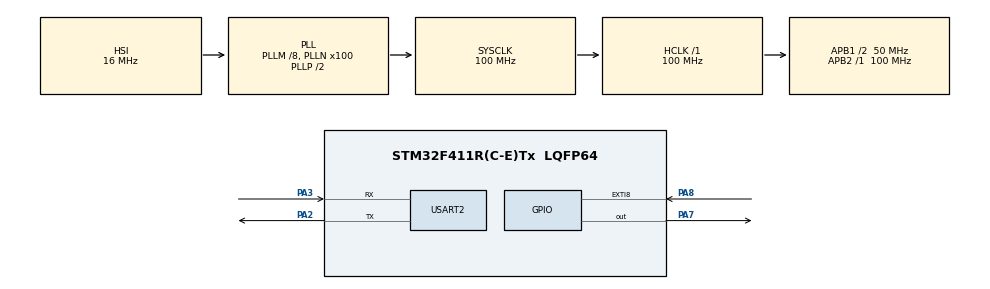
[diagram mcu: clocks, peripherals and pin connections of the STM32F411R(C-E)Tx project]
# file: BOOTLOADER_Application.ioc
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Mcu.Family=STM32F4
Mcu.Name=STM32F411R(C-E)Tx
Mcu.Package=LQFP64
NVIC.EXTI9_5_IRQn=true\:0\:0\:false\:false\:true\:true\:true\:true
NVIC.PriorityGroup=NVIC_PRIORITYGROUP_4
PA13.Mode=Serial_Wire
PA13.Signal=SYS_JTMS-SWDIO
PA14.Mode=Serial_Wire
PA14.Signal=SYS_JTCK-SWCLK
PA2.Mode=Asynchronous
PA2.Signal=USART2_TX
PA3.Mode=Asynchronous
PA3.Signal=USART2_RX
PA7.Signal=GPIO_Output
PA8.GPIO_ModeDefaultEXTI=GPIO_MODE_IT_RISING
PA8.GPIO_PuPd=GPIO_PULLUP
PA8.Signal=GPXTI8
PH0\ -\ OSC_IN.Mode=HSE-External-Clock-Source
PH0\ -\ OSC_IN.Signal=RCC_OSC_IN
PH1\ -\ OSC_OUT.Mode=HSE-External-Clock-Source
PH1\ -\ OSC_OUT.Signal=RCC_OSC_OUT
ProjectManager.HeapSize=0x200
ProjectManager.StackSize=0x400
ProjectManager.TargetToolchain=STM32CubeIDE
RCC.48MHZClocksFreq_Value=50000000
RCC.AHBFreq_Value=100000000
RCC.APB1CLKDivider=RCC_HCLK_DIV2
RCC.APB1Freq_Value=50000000
RCC.APB1TimFreq_Value=100000000
RCC.APB2Freq_Value=100000000
RCC.APB2TimFreq_Value=100000000
RCC.CortexFreq_Value=100000000
RCC.HCLKFreq_Value=100000000
RCC.HSE_VALUE=25000000
RCC.HSI_VALUE=16000000
RCC.LSE_VALUE=32768
RCC.PLLM=8
RCC.PLLN=100
RCC.SYSCLKFreq_VALUE=100000000
RCC.SYSCLKSource=RCC_SYSCLKSOURCE_PLLCLK
RCC.VCOOutputFreq_Value=200000000
USART2.VirtualMode=VM_ASYNC
board=custom

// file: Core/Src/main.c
/* USER CODE BEGIN Header */
/**
  ******************************************************************************
  * @file           : main.c
  * @brief          : Main program body
  ******************************************************************************
  * @attention
  *
  * Copyright (c) 2026 STMicroelectronics.
  * All rights reserved.
  *
  * This software is licensed under terms that can be found in the LICENSE file
  * in the root directory of this software component.
  * If no LICENSE file comes with this software, it is provided AS-IS.
  *
  ******************************************************************************
  */
/* USER CODE END Header */
#include "main.h"

/* USER CODE BEGIN Includes */
#include"flash_layout.h"
#include"app_header.h"
#include"app_ota.h"

/* USER CODE END Includes */

UART_HandleTypeDef huart2;

void SystemClock_Config(void);
static void MX_GPIO_Init(void);
static void MX_USART2_UART_Init(void);

/* USER CODE BEGIN 0 */
__attribute__((section(".header")))const app_header_t app_header =
{
		.ota_flag = 0,
		.magic = 0xABCDEFAB,
		.size = 0,
		.crc = 0,
		.version = 0
};

void HAL_GPIO_EXTI_Callback(uint16_t GPIO_Pin)
{
    uint32_t wait = 1000;
    while(wait--);
    enable_ota_request();
}

/* USER CODE END 0 */

int main(void)
{

  /* USER CODE BEGIN 1 */

  SCB->VTOR = APP_START_ADDR;   // Add This

  /* USER CODE END 1 */

  /* MCU Configuration--------------------------------------------------------*/

  /* Reset of all peripherals, Initializes the Flash interface and the Systick. */
  HAL_Init();

  /* USER CODE BEGIN Init */

  __enable_irq();   // Add This

  /* USER CODE END Init */

  /* Configure the system clock */
  SystemClock_Config();

  /* Initialize all configured peripherals */
  MX_GPIO_Init();
  MX_USART2_UART_Init();
  /* USER CODE BEGIN 2 */
  HAL_Delay(100);
  HAL_UART_Transmit(&huart2, (uint8_t*)"Inside Test Application!!\r\n", 28, 100);

  /* USER CODE END 2 */

  /* Infinite loop */
  while (1)
  {

    /* USER CODE BEGIN 3 */
	  HAL_GPIO_TogglePin(GPIOA, GPIO_PIN_7);
	  HAL_Delay(100);
  }
  /* USER CODE END 3 */
}

void SystemClock_Config(void)
{
  RCC_OscInitTypeDef RCC_OscInitStruct = {0};
  RCC_ClkInitTypeDef RCC_ClkInitStruct = {0};

  /** Configure the main internal regulator output voltage
  */
  __HAL_RCC_PWR_CLK_ENABLE();
  __HAL_PWR_VOLTAGESCALING_CONFIG(PWR_REGULATOR_VOLTAGE_SCALE1);

  /** Initializes the RCC Oscillators according to the specified parameters
  * in the RCC_OscInitTypeDef structure.
  */
  RCC_OscInitStruct.OscillatorType = RCC_OSCILLATORTYPE_HSI;
  RCC_OscInitStruct.HSIState = RCC_HSI_ON;
  RCC_OscInitStruct.HSICalibrationValue = RCC_HSICALIBRATION_DEFAULT;
  RCC_OscInitStruct.PLL.PLLState = RCC_PLL_ON;
  RCC_OscInitStruct.PLL.PLLSource = RCC_PLLSOURCE_HSI;
  RCC_OscInitStruct.PLL.PLLM = 8;
  RCC_OscInitStruct.PLL.PLLN = 100;
  RCC_OscInitStruct.PLL.PLLP = RCC_PLLP_DIV2;
  RCC_OscInitStruct.PLL.PLLQ = 4;
  if (HAL_RCC_OscConfig(&RCC_OscInitStruct) != HAL_OK)
  {
    Error_Handler();
  }

  /** Initializes the CPU, AHB and APB buses clocks
  */
  RCC_ClkInitStruct.ClockType = RCC_CLOCKTYPE_HCLK|RCC_CLOCKTYPE_SYSCLK
                              |RCC_CLOCKTYPE_PCLK1|RCC_CLOCKTYPE_PCLK2;
  RCC_ClkInitStruct.SYSCLKSource = RCC_SYSCLKSOURCE_PLLCLK;
  RCC_ClkInitStruct.AHBCLKDivider = RCC_SYSCLK_DIV1;
  RCC_ClkInitStruct.APB1CLKDivider = RCC_HCLK_DIV2;
  RCC_ClkInitStruct.APB2CLKDivider = RCC_HCLK_DIV1;

  if (HAL_RCC_ClockConfig(&RCC_ClkInitStruct, FLASH_LATENCY_3) != HAL_OK)
  {
    Error_Handler();
  }
}

static void MX_USART2_UART_Init(void)
{

  huart2.Instance = USART2;
  huart2.Init.BaudRate = 115200;
  huart2.Init.WordLength = UART_WORDLENGTH_8B;
  huart2.Init.StopBits = UART_STOPBITS_1;
  huart2.Init.Parity = UART_PARITY_NONE;
  huart2.Init.Mode = UART_MODE_TX_RX;
  huart2.Init.HwFlowCtl = UART_HWCONTROL_NONE;
  huart2.Init.OverSampling = UART_OVERSAMPLING_16;
  if (HAL_UART_Init(&huart2) != HAL_OK)
  {
    Error_Handler();
  }

}

static void MX_GPIO_Init(void)
{
  GPIO_InitTypeDef GPIO_InitStruct = {0};

  /* GPIO Ports Clock Enable */
  __HAL_RCC_GPIOH_CLK_ENABLE();
  __HAL_RCC_GPIOA_CLK_ENABLE();

  /*Configure GPIO pin Output Level */
  HAL_GPIO_WritePin(GPIOA, GPIO_PIN_7, GPIO_PIN_RESET);

  /*Configure GPIO pin : PA7 */
  GPIO_InitStruct.Pin = GPIO_PIN_7;
  GPIO_InitStruct.Mode = GPIO_MODE_OUTPUT_PP;
  GPIO_InitStruct.Pull = GPIO_NOPULL;
  GPIO_InitStruct.Speed = GPIO_SPEED_FREQ_LOW;
  HAL_GPIO_Init(GPIOA, &GPIO_InitStruct);

  /*Configure GPIO pin : PA8 */
  GPIO_InitStruct.Pin = GPIO_PIN_8;
  GPIO_InitStruct.Mode = GPIO_MODE_IT_FALLING;
  GPIO_InitStruct.Pull = GPIO_PULLUP;
  HAL_GPIO_Init(GPIOA, &GPIO_InitStruct);

  /* EXTI interrupt init*/
  HAL_NVIC_SetPriority(EXTI9_5_IRQn, 0, 0);
  HAL_NVIC_EnableIRQ(EXTI9_5_IRQn);

}

void Error_Handler(void)
{
  __disable_irq();
  while (1)
  {
  }
}
